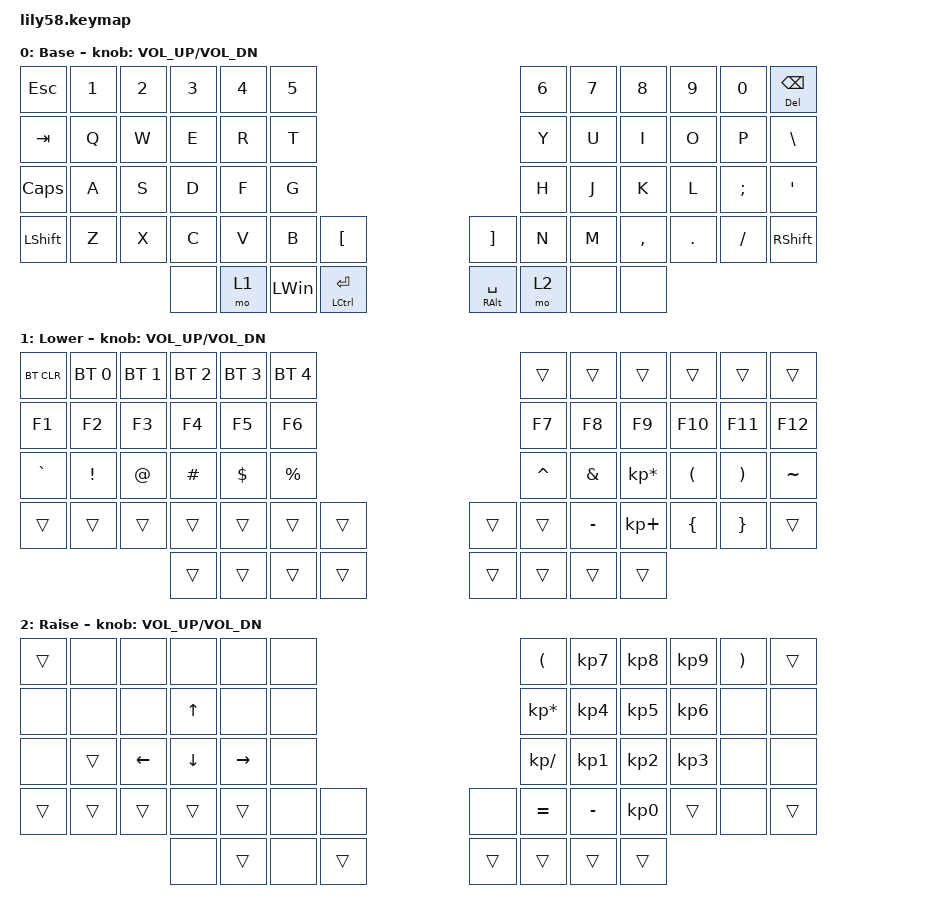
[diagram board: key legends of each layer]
/*
 * Copyright (c) 2020 The ZMK Contributors
 *
 * SPDX-License-Identifier: MIT
 */

#include <behaviors.dtsi>
#include <dt-bindings/zmk/bt.h>
#include <dt-bindings/zmk/keys.h>

/ {
    behaviors {
        cap_caps: cap_caps {
            compatible = "zmk,behavior-tap-dance";
            label = "CAP_CAPS";
            #binding-cells = <0>;
            bindings = <&kp LEFT_SHIFT>, <&kp CAPSLOCK>;
        };

        hold_tap: hold_tap {
            compatible = "zmk,behavior-hold-tap";
            label = "HOLD_TAP";
            bindings = <&kp>, <&kp>;

            #binding-cells = <2>;
            tapping-term-ms = <200>;
            flavor = "tap-preferred";
        };
    };

    keymap {
        compatible = "zmk,keymap";

        default_layer {
            // ------------------------------------------------------------------------------------------------------------
            // |  ESC  |  1  |  2  |  3   |  4   |  5   |                   |  6   |  7    |  8    |  9   |   0   |   `   |
            // |  TAB  |  Q  |  W  |  E   |  R   |  T   |                   |  Y   |  U    |  I    |  O   |   P   |   -   |
            // |  CTRL |  A  |  S  |  D   |  F   |  G   |                   |  H   |  J    |  K    |  L   |   ;   |   '   |
            // | SHIFT |  Z  |  X  |  C   |  V   |  B   |   "["  |  |  "]"  |  N   |  M    |  ,    |  .   |   /   | SHIFT |
            //                     | ALT  | GUI  | LOWER|  SPACE |  | ENTER | RAISE| BSPC  | GUI   |

            display-name = "Base";
            bindings = <
&kp ESC         &kp N1  &kp N2  &kp N3  &kp N4  &kp N5                                                                   &kp N6  &kp N7  &kp N8     &kp N9   &kp N0    &hold_tap DELETE BACKSPACE
&kp TAB         &kp Q   &kp W   &kp E   &kp R   &kp T                                                                    &kp Y   &kp U   &kp I      &kp O    &kp P     &kp BACKSLASH
&kp CAPS        &kp A   &kp S   &kp D   &kp F   &kp G                                                                    &kp H   &kp J   &kp K      &kp L    &kp SEMI  &kp SQT
&kp LEFT_SHIFT  &kp Z   &kp X   &kp C   &kp V   &kp B         &kp LBKT                        &kp RBKT                   &kp N   &kp M   &kp COMMA  &kp DOT  &kp FSLH  &kp RIGHT_SHIFT
                                &none   &mo 1   &kp LEFT_WIN  &hold_tap LEFT_CONTROL ENTER    &hold_tap RIGHT_ALT SPACE  &mo 2   &none   &none
            >;

            sensor-bindings = <&inc_dec_kp C_VOL_UP C_VOL_DN>;
        };

        lower_layer {
            // ------------------------------------------------------------------------------------------------------------
            // | BTCLR | BT1 | BT2 |  BT3 |  BT4 |  BT5 |                   |      |       |       |      |       |       |
            // |  F1   |  F2 |  F3 |  F4  |  F5  |  F6  |                   |  F7  |  F8   |  F9   |  F10 |  F11  |  F12  |
            // |   `   |  !  |  @  |  #   |  $   |  %   |                   |  ^   |  &    |  *    |  (   |   )   |   ~   |
            // |       |     |     |      |      |      |        |  |       |      |  _    |  +    |  {   |   }   |  "|"  |
            //                     |      |      |      |        |  |       |      |       |       |

            display-name = "Lower";
            bindings = <
&bt BT_CLR  &bt BT_SEL 0  &bt BT_SEL 1  &bt BT_SEL 2  &bt BT_SEL 3  &bt BT_SEL 4                    &trans     &trans     &trans           &trans    &trans    &trans
&kp F1      &kp F2        &kp F3        &kp F4        &kp F5        &kp F6                          &kp F7     &kp F8     &kp F9           &kp F10   &kp F11   &kp F12
&kp GRAVE   &kp EXCL      &kp AT        &kp HASH      &kp DOLLAR    &kp PRCNT                       &kp CARET  &kp AMPS   &kp KP_MULTIPLY  &kp LPAR  &kp RPAR  &kp TILDE
&trans      &trans        &trans        &trans        &trans        &trans        &trans    &trans  &trans     &kp MINUS  &kp KP_PLUS      &kp LBRC  &kp RBRC  &trans
                                        &trans        &trans        &trans        &trans    &trans  &trans     &trans     &trans
            >;

            sensor-bindings = <&inc_dec_kp C_VOL_UP C_VOL_DN>;
        };

        raise_layer {
            // ------------------------------------------------------------------------------------------------------------
            // |       |     |     |      |      |      |                   |      |       |       |      |       |       |
            // |   `   |  1  |  2  |  3   |  4   |  5   |                   |  6   |   7   |   8   |  9   |   0   |       |
            // |   F1  |  F2 |  F3 |  F4  |  F5  |  F6  |                   |      |   <-  |   v   |  ^   |  ->   |       |
            // |   F7  |  F8 |  F9 |  F10 |  F11 |  F12 |        |  |       |  +   |   -   |   =   |  [   |   ]   |   \   |
            //                     |      |      |      |        |  |       |      |       |       |

            display-name = "Raise";
            bindings = <
&trans  &none   &none     &none     &none      &none                    &kp LEFT_PARENTHESIS  &kp KP_NUMBER_7  &kp KP_NUMBER_8  &kp KP_NUMBER_9  &kp RIGHT_PARENTHESIS  &trans
&none   &none   &none     &kp UP    &none      &none                    &kp KP_MULTIPLY       &kp KP_NUMBER_4  &kp KP_NUMBER_5  &kp KP_NUMBER_6  &none                  &none
&none   &trans  &kp LEFT  &kp DOWN  &kp RIGHT  &none                    &kp KP_DIVIDE         &kp KP_NUMBER_1  &kp KP_NUMBER_2  &kp KP_NUMBER_3  &none                  &none
&trans  &trans  &trans    &trans    &trans     &none  &none     &none   &kp EQUAL             &kp MINUS        &kp KP_NUMBER_0  &trans           &none                  &trans
                          &none     &trans     &none  &trans    &trans  &trans                &trans           &trans
            >;

            sensor-bindings = <&inc_dec_kp C_VOL_UP C_VOL_DN>;
        };
    };
};
